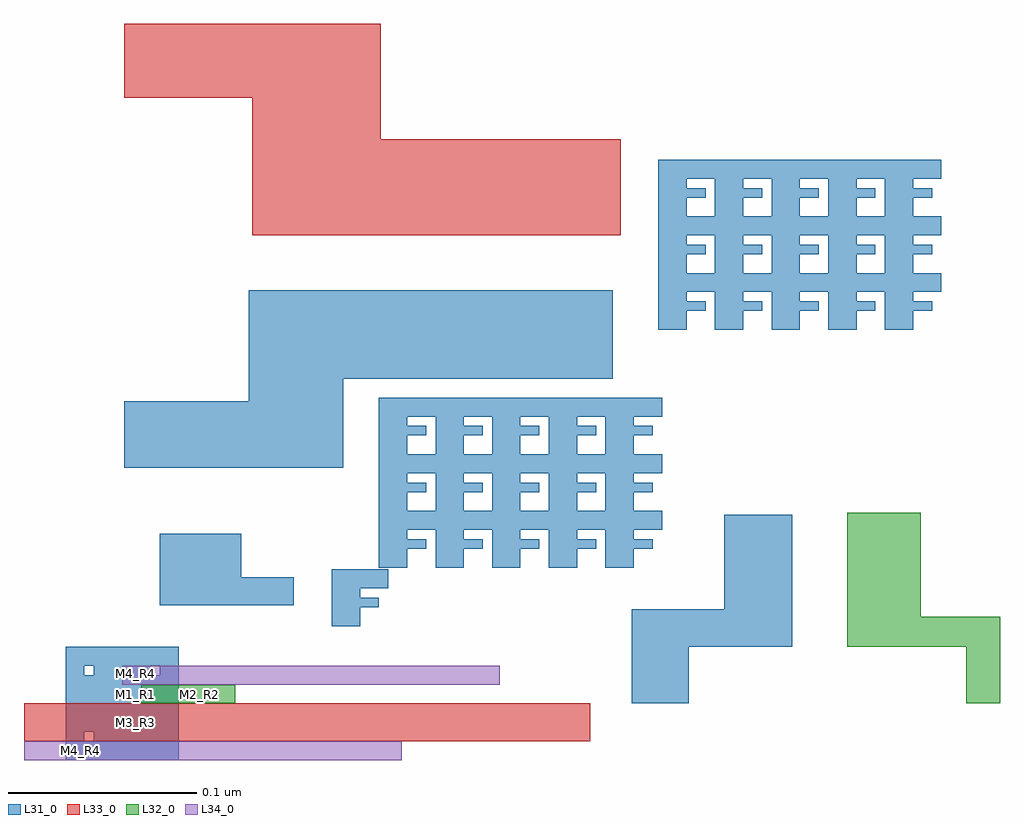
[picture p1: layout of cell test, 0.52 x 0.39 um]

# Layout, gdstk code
from math import pi, radians
import gdstk
lib = gdstk.Library(unit=1e-6, precision=1e-09)
def R(c, l, rs):  # rectangles x0, y0, x1, y1
    for r in rs: c.add(gdstk.rectangle(r[:2], r[2:], *l))
def P(c, l, *ps):  # polygons
    for p in ps: c.add(gdstk.Polygon(p, *l))
L31_0 = (31, 0)
L32_0 = (32, 0)
L33_0 = (33, 0)
L34_0 = (34, 0)

f_mark = lib.new_cell('f_mark')
P(f_mark, L31_0, [(0,0),(0,0.03),(0.03,0.03),(0.03,0.02),(0.015,0.02),(0.015,0.015),(0.025,0.015),(0.025,0.01),(0.015,0.01),(0.015,0)])
f_mark.add(gdstk.Label('F', (0.007,0.014), layer=131, texttype=0))

c_a = lib.new_cell('A')
P(c_a, L31_0, [(0,0),(0,0.03),(0.03,0.03),(0.03,0.02),(0.015,0.02),(0.015,0.015),(0.025,0.015),(0.025,0.01),(0.015,0.01),(0.015,0)])
c_a.add(gdstk.Label('F', (0.007,0.014), layer=131, texttype=0))

test = lib.new_cell('test')
R(test, L31_0, [(0,0,0.01,0.01)])
P(test, L31_0, [(0.001,0.125),(0.117,0.125),(0.117,0.172),(0.26,0.172),(0.26,0.219),(0.067,0.219),(0.067,0.16),(0.001,0.16)],
  [(0.27,0),(0.27,0.05),(0.319,0.05),(0.319,0.1),(0.355,0.1),(0.355,0.03),(0.3,0.03),(0.3,0)],
  [(0.02,0.052),(0.091,0.052),(0.091,0.067),(0.063,0.067),(0.063,0.09),(0.02,0.09)])
R(test, L32_0, [(0.01,0,0.06,0.01)])
P(test, L32_0, [(0.465,0),(0.465,0.046),(0.423,0.046),(0.423,0.101),(0.384,0.101),(0.384,0.03),(0.447,0.03),(0.447,0)])
R(test, L33_0, [(-0.052,-0.02,0.248,0)])
P(test, L33_0, [(0.001,0.36),(0.137,0.36),(0.137,0.299),(0.264,0.299),(0.264,0.248),(0.069,0.248),(0.069,0.321),(0.001,0.321)])
R(test, L34_0, [(-0.052,-0.03,0.148,-0.02), (0,0.01,0.2,0.02)])
test.add(gdstk.Reference(f_mark, (0,0)))
r = gdstk.Reference(f_mark, (0.284,0.198)); r.repetition = gdstk.Repetition(5, 3, v1=(0.03,0), v2=(0,0.03)); test.add(r)
r = gdstk.Reference(f_mark, (0.136,0.072)); r.repetition = gdstk.Repetition(1, 3, v1=(0,0), v2=(0,0.03)); test.add(r)
r = gdstk.Reference(f_mark, (0.166,0.072)); r.repetition = gdstk.Repetition(1, 3, v1=(0,0), v2=(0,0.03)); test.add(r)
r = gdstk.Reference(f_mark, (0.196,0.072)); r.repetition = gdstk.Repetition(1, 3, v1=(0,0), v2=(0,0.03)); test.add(r)
r = gdstk.Reference(f_mark, (0.226,0.072)); r.repetition = gdstk.Repetition(1, 3, v1=(0,0), v2=(0,0.03)); test.add(r)
r = gdstk.Reference(f_mark, (0.256,0.072)); r.repetition = gdstk.Repetition(1, 3, v1=(0,0), v2=(0,0.03)); test.add(r)
test.add(gdstk.Reference(f_mark, (0,0), rotation=3*pi/2))
r = gdstk.Reference(f_mark, (0,-0.03), rotation=pi/2, x_reflection=True); r.repetition = gdstk.Repetition(1, 2, v1=(0,0), v2=(0,0.03)); test.add(r)
test.add(gdstk.Reference(f_mark, (0,0), rotation=pi))
test.add(gdstk.Reference(f_mark, (0,0), rotation=pi/2))
test.add(gdstk.Reference(f_mark, (0,0), rotation=3*pi/2, x_reflection=True))
test.add(gdstk.Reference(f_mark, (0,0), rotation=pi, x_reflection=True))
test.add(gdstk.Reference(c_a, (0.111,0.041)))
test.add(gdstk.Label('M1_R1', (0.007,0.005), layer=131, texttype=0))
test.add(gdstk.Label('M2_R2', (0.041,0.005), layer=132, texttype=0))
test.add(gdstk.Label('M4_R4', (-0.022,-0.025), layer=134, texttype=0))
test.add(gdstk.Label('M4_R4', (0.007,0.016), layer=134, texttype=0))
test.add(gdstk.Label('M3_R3', (0.007,-0.01), layer=133, texttype=0))

lib.write_gds('test.gds')
